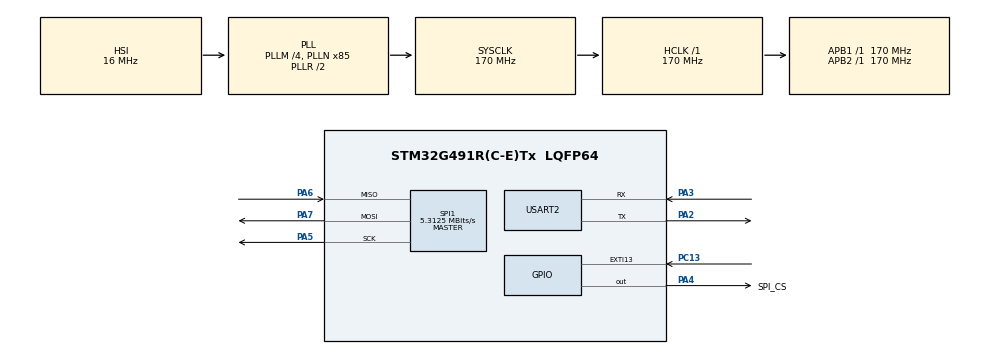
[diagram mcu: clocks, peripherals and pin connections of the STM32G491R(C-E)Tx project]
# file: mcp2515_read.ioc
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Mcu.Family=STM32G4
Mcu.Name=STM32G491R(C-E)Tx
Mcu.Package=LQFP64
NUCLEO-G491RE.BUTTON=1
NUCLEO-G491RE.LD2=true
NUCLEO-G491RE.VCP=true
NVIC.EXTI15_10_IRQn=true\:0\:0\:false\:false\:true\:true\:true\:true
NVIC.PriorityGroup=NVIC_PRIORITYGROUP_4
NVIC.USART2_IRQn=true\:0\:0\:false\:false\:true\:true\:true\:true
PA13.GPIO_Label=T_SWDIO
PA13.Mode=Serial_Wire
PA13.Signal=SYS_JTMS-SWDIO
PA14.GPIO_Label=T_SWCLK
PA14.Mode=Serial_Wire
PA14.Signal=SYS_JTCK-SWCLK
PA2.Mode=Asynchronous
PA2.Signal=USART2_TX
PA3.Mode=Asynchronous
PA3.Signal=USART2_RX
PA4.GPIO_Label=SPI_CS
PA4.GPIO_Speed=GPIO_SPEED_FREQ_HIGH
PA4.PinState=GPIO_PIN_SET
PA4.Signal=GPIO_Output
PA5.Mode=Full_Duplex_Master
PA5.Signal=SPI1_SCK
PA6.Mode=Full_Duplex_Master
PA6.Signal=SPI1_MISO
PA7.Mode=Full_Duplex_Master
PA7.Signal=SPI1_MOSI
PB3.GPIO_Label=T_SWO
PB3.Signal=SYS_JTDO-SWO
PC13.Signal=GPXTI13
PC14-OSC32_IN.GPIO_Label=RCC_OSC32_IN
PC14-OSC32_IN.Signal=RCC_OSC32_IN
PC15-OSC32_OUT.GPIO_Label=RCC_OSC32_OUT
PC15-OSC32_OUT.Signal=RCC_OSC32_OUT
PF0-OSC_IN.GPIO_Label=RCC_OSC_IN
PF0-OSC_IN.Mode=HSE-External-Oscillator
PF0-OSC_IN.Signal=RCC_OSC_IN
PF1-OSC_OUT.GPIO_Label=RCC_OSC_OUT
PF1-OSC_OUT.Mode=HSE-External-Oscillator
PF1-OSC_OUT.Signal=RCC_OSC_OUT
ProjectManager.HeapSize=0x200
ProjectManager.StackSize=0x400
ProjectManager.TargetToolchain=STM32CubeIDE
RCC.ADC12Freq_Value=170000000
RCC.ADC345Freq_Value=170000000
RCC.AHBFreq_Value=170000000
RCC.APB1Freq_Value=170000000
RCC.APB1TimFreq_Value=170000000
RCC.APB2Freq_Value=170000000
RCC.APB2TimFreq_Value=170000000
RCC.CortexFreq_Value=170000000
RCC.EXTERNAL_CLOCK_VALUE=12288000
RCC.HCLKFreq_Value=170000000
RCC.HSE_VALUE=24000000
RCC.HSI48_VALUE=48000000
RCC.HSI_VALUE=16000000
RCC.LSE_VALUE=32768
RCC.PLLM=RCC_PLLM_DIV4
RCC.PLLN=85
RCC.RTCClockSelection=RCC_RTCCLKSOURCE_LSE
RCC.SYSCLKFreq_VALUE=170000000
RCC.SYSCLKSource=RCC_SYSCLKSOURCE_PLLCLK
RCC.USBFreq_Value=48000000
RCC.VCOOutputFreq_Value=340000000
SPI1.BaudRatePrescaler=SPI_BAUDRATEPRESCALER_32
SPI1.CalculateBaudRate=5.3125 MBits/s
SPI1.DataSize=SPI_DATASIZE_8BIT
SPI1.Direction=SPI_DIRECTION_2LINES
SPI1.Mode=SPI_MODE_MASTER
SPI1.VirtualType=VM_MASTER
USART2.VirtualMode-Asynchronous=VM_ASYNC
VP_NUCLEO-G491RE_VS_BSP_COMMON.Mode=COMMON
VP_SYS_VS_DBSignals.Mode=DisableDeadBatterySignals
board=NUCLEO-G491RE

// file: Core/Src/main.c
/* USER CODE BEGIN Header */
/**
  ******************************************************************************
  * @file           : main.c
  * @brief          : SLCAN Bridge for CANHacker - Hardware Active Edition
  ******************************************************************************
  */
/* USER CODE END Header */
#include "main.h"

/* USER CODE BEGIN Includes */
#include "MCP2515.h"
#include <string.h>
#include <stdio.h>
#include <stdbool.h>
/* USER CODE END Includes */

/* USER CODE BEGIN PTD */
typedef struct {
    uint32_t id;
    uint8_t dlc;
    uint8_t data[8];
    uint8_t ext;
} CanMessage;
/* USER CODE END PTD */

/* USER CODE BEGIN PD */
#define SLCAN_BUF_SIZE 64

// ===========================================================================
// HARDWARE ASSIGNMENTS: Verify these match your physical wire setup!
// ===========================================================================
#define MCP_CRYSTAL_FREQ        8        // Set to 8 for 8MHz crystal, or 16 for 16MHz
#define MCP2515_CS_PORT         GPIOB    // Port where your CS/NSS wire is connected
#define MCP2515_CS_PIN          GPIO_PIN_6 // Pin where your CS/NSS wire is connected

// Bitrate Selection Constants
#define CAN_250KBPS   0
#define CAN_500KBPS   1
#define CAN_1000KBPS  2
/* USER CODE END PD */

SPI_HandleTypeDef hspi1;
UART_HandleTypeDef huart2;

/* USER CODE BEGIN PV */
// --- SLCAN / Lawicel State Variables ---
uint8_t slcan_rx_byte;
char slcan_buffer[SLCAN_BUF_SIZE];
uint8_t slcan_index = 0;
volatile uint8_t slcan_cmd_ready = 0;

// Defaulted to 1 for instant vehicle bus sniffing during direct debug sessions
uint8_t can_channel_open = 1;

// Debugging Flags - Watch these inside your Live Expressions panel
volatile uint8_t mcp2515_spi_verified = 0;
/* USER CODE END PV */

void SystemClock_Config(void);
static void MX_GPIO_Init(void);
static void MX_USART2_UART_Init(void);
static void MX_SPI1_Init(void);

/* USER CODE BEGIN PFP */
void Process_SLCAN_Command(void);
void Send_Serial_String(const char* str);

// High-Level Driver Wrapper Prototypes
void MCP2515_SetBitrate(uint8_t bitrate, uint8_t crystal_mhz);
void MCP2515_SetListenOnlyMode(void);
uint8_t MCP2515_CheckReceive(void);
void MCP2515_ReadMessage(CanMessage *msg);
/* USER CODE END PFP */

/* USER CODE BEGIN 0 */

// UART Interrupt Callback to catch incoming PC commands
void HAL_UART_RxCpltCallback(UART_HandleTypeDef *huart) {
    if (huart->Instance == USART2) {
        if (slcan_rx_byte == '\r') {
            slcan_buffer[slcan_index] = '\0';
            slcan_cmd_ready = 1;
        } else {
            if (slcan_index < SLCAN_BUF_SIZE - 1) {
                slcan_buffer[slcan_index++] = slcan_rx_byte;
            }
        }
        HAL_UART_Receive_IT(&huart2, &slcan_rx_byte, 1);
    }
}

// Lawicel Protocol Parser
void Process_SLCAN_Command(void) {
    char cmd = slcan_buffer[0];

    switch (cmd) {
        case 'S': // Setup Bitrate manually from host software
            if (slcan_buffer[1] == '6') { MCP2515_SetBitrate(CAN_500KBPS, MCP_CRYSTAL_FREQ); }
            else if (slcan_buffer[1] == '5') { MCP2515_SetBitrate(CAN_250KBPS, MCP_CRYSTAL_FREQ); }
            else if (slcan_buffer[1] == '8') { MCP2515_SetBitrate(CAN_1000KBPS, MCP_CRYSTAL_FREQ); }
            Send_Serial_String("\r");
            break;

        case 'O': // Open CAN channel
            MCP2515_SetNormalMode();
            can_channel_open = 1;
            Send_Serial_String("\r");
            break;

        case 'C': // Close CAN channel
            MCP2515_SetListenOnlyMode();
            can_channel_open = 0;
            Send_Serial_String("\r");
            break;

        case 'v': // Get Version
            Send_Serial_String("V1013\r");
            break;

        case 'V': // Get Serial Number
            Send_Serial_String("N1234\r");
            break;

        default:
            Send_Serial_String("\a");
            break;
    }
    slcan_index = 0;
    slcan_cmd_ready = 0;
}

void Send_Serial_String(const char* str) {
    HAL_UART_Transmit(&huart2, (uint8_t*)str, strlen(str), 10);
}

// --- Implementation of High-Level Driver Logic Mapping to Hardware Registers ---

void MCP2515_SetBitrate(uint8_t bitrate, uint8_t crystal_mhz) {
    // Force device into Configuration Mode (REQOP bits = 100 in CANCTRL register 0x0F)
    MCP2515_BitModify(0x0F, 0xE0, 0x80);

    if (crystal_mhz == 8) {
        if (bitrate == CAN_500KBPS) {
            MCP2515_WriteByte(0x2A, 0x00); // CNF1
            MCP2515_WriteByte(0x29, 0x91); // CNF2
            MCP2515_WriteByte(0x28, 0x01); // CNF3
        } else if (bitrate == CAN_250KBPS) {
            MCP2515_WriteByte(0x2A, 0x01); // CNF1
            MCP2515_WriteByte(0x29, 0x91); // CNF2
            MCP2515_WriteByte(0x28, 0x01); // CNF3
        } else if (bitrate == CAN_1000KBPS) {
            MCP2515_WriteByte(0x2A, 0x00); // CNF1
            MCP2515_WriteByte(0x29, 0x80); // CNF2
            MCP2515_WriteByte(0x28, 0x00); // CNF3
        }
    }
    else if (crystal_mhz == 16) {
        if (bitrate == CAN_500KBPS) {
            MCP2515_WriteByte(0x2A, 0x00); // CNF1
            MCP2515_WriteByte(0x29, 0x9E); // CNF2
            MCP2515_WriteByte(0x28, 0x03); // CNF3
        } else if (bitrate == CAN_250KBPS) {
            MCP2515_WriteByte(0x2A, 0x01); // CNF1
            MCP2515_WriteByte(0x29, 0x9E); // CNF2
            MCP2515_WriteByte(0x28, 0x03); // CNF3
        } else if (bitrate == CAN_1000KBPS) {
            MCP2515_WriteByte(0x2A, 0x00); // CNF1
            MCP2515_WriteByte(0x29, 0x91); // CNF2
            MCP2515_WriteByte(0x28, 0x01); // CNF3
        }
    }
}

void MCP2515_SetListenOnlyMode(void) {
    MCP2515_BitModify(0x0F, 0xE0, 0x60);
}

uint8_t MCP2515_CheckReceive(void) {
    uint8_t status = MCP2515_ReadStatus();
    return (status & 0x03);
}

void MCP2515_ReadMessage(CanMessage *msg) {
    uint8_t status = MCP2515_ReadStatus();
    uint8_t baseReg = 0x61;
    uint8_t intfBit = 0x01;

    if (!(status & 0x01) && (status & 0x02)) {
        baseReg = 0x71;
        intfBit = 0x02;
    }

    uint8_t idh = MCP2515_ReadByte(baseReg);
    uint8_t idl = MCP2515_ReadByte(baseReg + 1);
    uint8_t e8  = MCP2515_ReadByte(baseReg + 2);
    uint8_t e0  = MCP2515_ReadByte(baseReg + 3);
    uint8_t dlc = MCP2515_ReadByte(baseReg + 4);

    msg->dlc = dlc & 0x0F;

    if (idl & 0x08) {
        msg->ext = 1;
        msg->id = ((uint32_t)idh << 21) |
                  ((uint32_t)(idl & 0xE0) << 13) |
                  ((uint32_t)(idl & 0x03) << 16) |
                  ((uint32_t)e8 << 8) | e0;
    } else {
        msg->ext = 0;
        msg->id = ((uint32_t)idh << 3) | ((idl & 0xE0) >> 5);
    }

    for (int i = 0; i < msg->dlc; i++) {
        msg->data[i] = MCP2515_ReadByte(baseReg + 5 + i);
    }

    MCP2515_BitModify(0x2C, intfBit, 0x00);
}
/* USER CODE END 0 */

int main(void)
{

  /* MCU Configuration--------------------------------------------------------*/
  HAL_Init();
  SystemClock_Config();

  /* Initialize all configured peripherals */
  MX_GPIO_Init();
  MX_USART2_UART_Init();
  MX_SPI1_Init();

  /* USER CODE BEGIN 2 */
  // 1. Initialize lower level hardware layers
  MCP2515_Initialize();

  // 2. SPI Integrity Validation Test
  // Read back the CANSTAT control register (0x0E). In default config state, it must reflect 0x80.
  uint8_t check_reg = MCP2515_ReadByte(0x0E);
  if ((check_reg & 0xE0) == 0x80) {
      mcp2515_spi_verified = 1; // SPI interface functional!
  } else {
      mcp2515_spi_verified = 0; // Hardware/wiring fault detected between STM32 and MCP2515
  }

  // 3. Force auto-configuration for standard 500kbps vehicle sniffing immediately
  MCP2515_SetBitrate(CAN_500KBPS, MCP_CRYSTAL_FREQ);
  MCP2515_SetNormalMode();

  // 4. Arm UART listening stream
  HAL_UART_Receive_IT(&huart2, &slcan_rx_byte, 1);
  /* USER CODE END 2 */

  /* Infinite loop */
  /* USER CODE BEGIN WHILE */
  while (1)
  {
      // Parse data frame inputs from serial connection
      if (slcan_cmd_ready) {
          Process_SLCAN_Command();
      }

      // Live processing loop for CAN bus data frames
      if (can_channel_open && MCP2515_CheckReceive()) {
          CanMessage rx_frame;
          MCP2515_ReadMessage(&rx_frame);

          char tx_buf[64] = {0};
          char hex_byte[3] = {0};

          if (rx_frame.ext) {
              sprintf(tx_buf, "T%08lX%d", rx_frame.id, rx_frame.dlc);
          } else {
              sprintf(tx_buf, "t%03lX%d", rx_frame.id, rx_frame.dlc);
          }

          for (int i = 0; i < rx_frame.dlc; i++) {
              sprintf(hex_byte, "%02X", rx_frame.data[i]);
              strcat(tx_buf, hex_byte);
          }

          strcat(tx_buf, "\r");
          Send_Serial_String(tx_buf);
      }
    /* USER CODE END WHILE */

  }
}

void SystemClock_Config(void)
{
  RCC_OscInitTypeDef RCC_OscInitStruct = {0};
  RCC_ClkInitTypeDef RCC_ClkInitStruct = {0};

  /** Configure the main internal regulator output voltage
  */
  HAL_PWREx_ControlVoltageScaling(PWR_REGULATOR_VOLTAGE_SCALE1_BOOST);

  /** Initializes the RCC Oscillators according to the specified parameters
  * in the RCC_OscInitTypeDef structure.
  */
  RCC_OscInitStruct.OscillatorType = RCC_OSCILLATORTYPE_HSI;
  RCC_OscInitStruct.HSIState = RCC_HSI_ON;
  RCC_OscInitStruct.HSICalibrationValue = RCC_HSICALIBRATION_DEFAULT;
  RCC_OscInitStruct.PLL.PLLState = RCC_PLL_ON;
  RCC_OscInitStruct.PLL.PLLSource = RCC_PLLSOURCE_HSI;
  RCC_OscInitStruct.PLL.PLLM = RCC_PLLM_DIV4;
  RCC_OscInitStruct.PLL.PLLN = 85;
  RCC_OscInitStruct.PLL.PLLP = RCC_PLLP_DIV2;
  RCC_OscInitStruct.PLL.PLLQ = RCC_PLLQ_DIV2;
  RCC_OscInitStruct.PLL.PLLR = RCC_PLLR_DIV2;
  if (HAL_RCC_OscConfig(&RCC_OscInitStruct) != HAL_OK)
  {
    Error_Handler();
  }

  /** Initializes the CPU, AHB and APB buses clocks
  */
  RCC_ClkInitStruct.ClockType = RCC_CLOCKTYPE_HCLK|RCC_CLOCKTYPE_SYSCLK
                              |RCC_CLOCKTYPE_PCLK1|RCC_CLOCKTYPE_PCLK2;
  RCC_ClkInitStruct.SYSCLKSource = RCC_SYSCLKSOURCE_PLLCLK;
  RCC_ClkInitStruct.AHBCLKDivider = RCC_SYSCLK_DIV1;
  RCC_ClkInitStruct.APB1CLKDivider = RCC_HCLK_DIV1;
  RCC_ClkInitStruct.APB2CLKDivider = RCC_HCLK_DIV1;

  if (HAL_RCC_ClockConfig(&RCC_ClkInitStruct, FLASH_LATENCY_4) != HAL_OK)
  {
    Error_Handler();
  }
}

static void MX_SPI1_Init(void)
{
  /* SPI1 parameter configuration*/
  hspi1.Instance = SPI1;
  hspi1.Init.Mode = SPI_MODE_MASTER;
  hspi1.Init.Direction = SPI_DIRECTION_2LINES;
  hspi1.Init.DataSize = SPI_DATASIZE_8BIT;
  hspi1.Init.CLKPolarity = SPI_POLARITY_LOW;   // SPI Mode 0
  hspi1.Init.CLKPhase = SPI_PHASE_1EDGE;        // SPI Mode 0
  hspi1.Init.NSS = SPI_NSS_SOFT;
  hspi1.Init.BaudRatePrescaler = SPI_BAUDRATEPRESCALER_32; // Safe speed scaling for 170MHz clock
  hspi1.Init.FirstBit = SPI_FIRSTBIT_MSB;
  hspi1.Init.TIMode = SPI_TIMODE_DISABLE;
  hspi1.Init.CRCCalculation = SPI_CRCCALCULATION_DISABLE;
  hspi1.Init.CRCPolynomial = 7;
  hspi1.Init.CRCLength = SPI_CRC_LENGTH_DATASIZE;
  hspi1.Init.NSSPMode = SPI_NSS_PULSE_DISABLE;
  if (HAL_SPI_Init(&hspi1) != HAL_OK)
  {
    Error_Handler();
  }
}

static void MX_USART2_UART_Init(void)
{
  huart2.Instance = USART2;
  huart2.Init.BaudRate = 115200;
  huart2.Init.WordLength = UART_WORDLENGTH_8B;
  huart2.Init.StopBits = UART_STOPBITS_1;
  huart2.Init.Parity = UART_PARITY_NONE;
  huart2.Init.Mode = UART_MODE_TX_RX;
  huart2.Init.HwFlowCtl = UART_HWCONTROL_NONE;
  huart2.Init.OverSampling = UART_OVERSAMPLING_16;
  huart2.Init.OneBitSampling = UART_ONE_BIT_SAMPLE_DISABLE;
  huart2.AdvancedInit.AdvFeatureInit = UART_ADVFEATURE_NO_INIT; // FIX APPLIED HERE
  if (HAL_UART_Init(&huart2) != HAL_OK)
  {
    Error_Handler();
  }
}

static void MX_GPIO_Init(void)
{
  GPIO_InitTypeDef GPIO_InitStruct = {0};

  /* GPIO Ports Clock Enable */
  __HAL_RCC_GPIOA_CLK_ENABLE();
  __HAL_RCC_GPIOB_CLK_ENABLE();

  /*Configure GPIO pin Output Level for CS */
  HAL_GPIO_WritePin(MCP2515_CS_PORT, MCP2515_CS_PIN, GPIO_PIN_SET);

  /*Configure GPIO pin : CS Pin Configuration */
  GPIO_InitStruct.Pin = MCP2515_CS_PIN;
  GPIO_InitStruct.Mode = GPIO_MODE_OUTPUT_PP;
  GPIO_InitStruct.Pull = GPIO_NOPULL;
  GPIO_InitStruct.Speed = GPIO_SPEED_FREQ_VERY_HIGH;
  HAL_GPIO_Init(MCP2515_CS_PORT, &GPIO_InitStruct);

  /**SPI1 GPIO Configuration
  PA5     ------> SPI1_SCK
  PA6     ------> SPI1_MISO
  PA7     ------> SPI1_MOSI
  */
  GPIO_InitStruct.Pin = GPIO_PIN_5|GPIO_PIN_6|GPIO_PIN_7;
  GPIO_InitStruct.Mode = GPIO_MODE_AF_PP;
  GPIO_InitStruct.Pull = GPIO_NOPULL;
  GPIO_InitStruct.Speed = GPIO_SPEED_FREQ_VERY_HIGH;
  GPIO_InitStruct.Alternate = GPIO_AF5_SPI1;
  HAL_GPIO_Init(GPIOA, &GPIO_InitStruct);

  /**USART2 GPIO Configuration
  PA2     ------> USART2_TX
  PA3     ------> USART2_RX
  */
  GPIO_InitStruct.Pin = GPIO_PIN_2|GPIO_PIN_3;
  GPIO_InitStruct.Mode = GPIO_MODE_AF_PP;
  GPIO_InitStruct.Pull = GPIO_NOPULL;
  GPIO_InitStruct.Speed = GPIO_SPEED_FREQ_LOW;
  GPIO_InitStruct.Alternate = GPIO_AF7_USART2;
  HAL_GPIO_Init(GPIOA, &GPIO_InitStruct);
}

void Error_Handler(void)
{
  __disable_irq();
  while (1) {}
}
